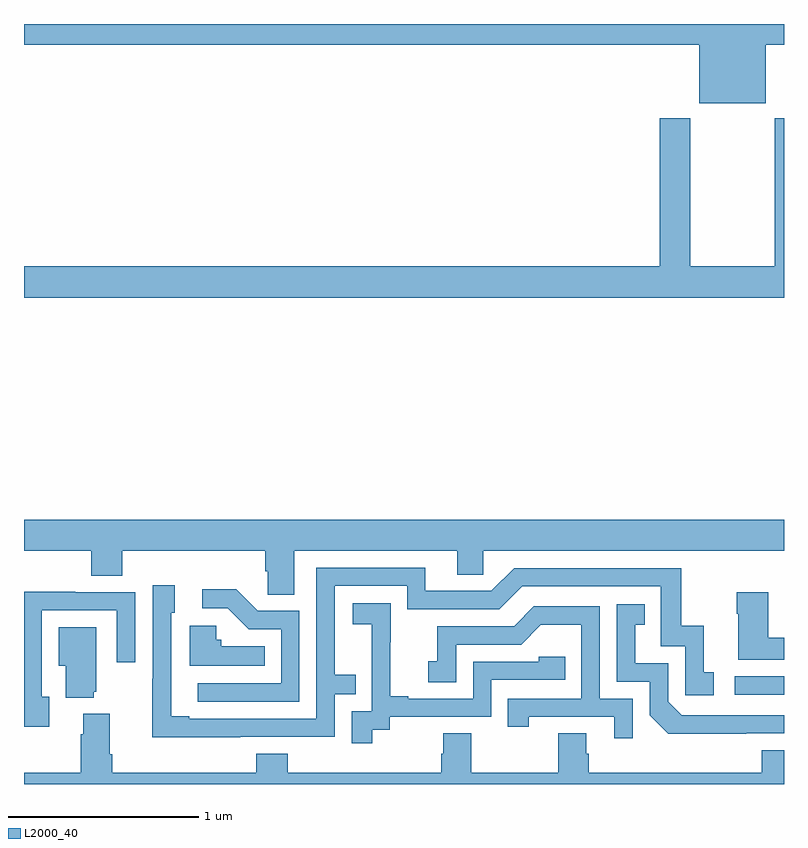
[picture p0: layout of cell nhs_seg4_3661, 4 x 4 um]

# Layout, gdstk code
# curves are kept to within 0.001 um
import gdstk
lib = gdstk.Library(unit=1e-6, precision=1e-09)
def R(c, l, rs):  # rectangles x0, y0, x1, y1
    for r in rs: c.add(gdstk.rectangle(r[:2], r[2:], *l))
def P(c, l, *ps):  # polygons
    for p in ps: c.add(gdstk.Polygon(p, *l))
L2000_40 = (2000, 40)

nhs_seg4_3661 = lib.new_cell('nhs_seg4_3661')
R(nhs_seg4_3661, L2000_40, [(306.741,821.37,307,821.466)])
P(nhs_seg4_3661, L2000_40, [(306.904,824.792),(307,824.792),(307,824.9),(303,824.9),(303,824.792),(306.554,824.792),(306.554,824.483),(306.904,824.483)],
  [(307,824.404),(306.952,824.404),(306.952,823.624),(306.507,823.624),(306.507,824.404),(306.347,824.404),(306.347,823.624),(303,823.624),(303,823.46),(307,823.46)],
  [(304.423,822.128),(305.279,822.128),(305.279,822.001),(305.418,822.001),(305.418,822.128),(307,822.128),(307,822.292),(303,822.292),(303,822.128),(303.353,822.128),(303.353,821.995),(303.518,821.995),(303.518,822.128),(304.271,822.128),(304.271,822.019),(304.284,822.019),(304.284,821.896),(304.423,821.896)],
  [(304.139,821.148),(304.635,821.148),(304.635,821.373),(304.745,821.373),(304.745,821.474),(304.635,821.474),(304.635,821.943),(305.016,821.943),(305.016,821.82),(305.502,821.82),(305.622,821.94),(306.351,821.94),(306.351,821.625),(306.48,821.625),(306.48,821.367),(306.631,821.367),(306.631,821.487),(306.578,821.487),(306.578,821.734),(306.46,821.734),(306.46,822.036),(305.58,822.036),(305.46,821.916),(305.113,821.916),(305.113,822.039),(304.539,822.039),(304.539,821.244),(303.871,821.244),(303.871,821.257),(303.774,821.257),(303.774,821.802),(303.793,821.802),(303.793,821.947),(303.678,821.947),(303.678,821.453),(303.676,821.453),(303.676,821.147)],
  [(304.449,821.811),(304.23,821.811),(304.117,821.924),(303.939,821.924),(303.939,821.826),(304.073,821.826),(304.184,821.715),(304.353,821.715),(304.353,821.43),(303.915,821.43),(303.915,821.334),(304.449,821.334)],
  [(303.133,821.358),(303.093,821.358),(303.093,821.814),(303.489,821.814),(303.489,821.541),(303.585,821.541),(303.585,821.91),(303.269,821.91),(303.269,821.912),(303,821.912),(303,821.202),(303.133,821.202)],
  [(307,821.669),(306.916,821.669),(306.916,821.908),(306.751,821.908),(306.751,821.795),(306.758,821.795),(306.758,821.555),(307,821.555)],
  [(304.834,821.185),(304.926,821.185),(304.926,821.253),(305.46,821.253),(305.46,821.448),(305.849,821.448),(305.849,821.571),(305.709,821.571),(305.709,821.544),(305.364,821.544),(305.364,821.349),(305.023,821.349),(305.023,821.362),(304.928,821.362),(304.928,821.645),(304.929,821.645),(304.929,821.851),(304.731,821.851),(304.731,821.741),(304.829,821.741),(304.829,821.513),(304.83,821.513),(304.83,821.283),(304.725,821.283),(304.725,821.115),(304.834,821.115)],
  [(306.8,821.166),(307,821.166),(307,821.262),(306.462,821.262),(306.39,821.334),(306.39,821.535),(306.217,821.535),(306.217,821.739),(306.266,821.739),(306.266,821.845),(306.12,821.845),(306.12,821.439),(306.294,821.439),(306.294,821.262),(306.392,821.165)],
  [(306.204,821.349),(306.03,821.349),(306.03,821.835),(305.684,821.835),(305.579,821.73),(305.176,821.73),(305.176,821.545),(305.127,821.545),(305.127,821.436),(305.274,821.436),(305.274,821.634),(305.616,821.634),(305.72,821.738),(305.934,821.738),(305.934,821.349),(305.545,821.349),(305.545,821.202),(305.656,821.202),(305.656,821.253),(306.107,821.253),(306.107,821.142),(306.204,821.142)],
  [(304.268,821.626),(304.038,821.626),(304.038,821.658),(304.011,821.658),(304.011,821.734),(303.872,821.734),(303.872,821.522),(304.268,821.522)],
  [(303.368,821.385),(303.379,821.385),(303.379,821.725),(303.182,821.725),(303.182,821.522),(303.221,821.522),(303.221,821.354),(303.368,821.354)],
  [(307,821.077),(306.884,821.077),(306.884,820.96),(305.972,820.96),(305.972,821.058),(305.959,821.058),(305.959,821.168),(305.812,821.168),(305.812,820.96),(305.355,820.96),(305.355,821.168),(305.207,821.168),(305.207,821.058),(305.195,821.058),(305.195,820.96),(304.388,820.96),(304.388,821.059),(304.223,821.059),(304.223,820.96),(303.464,820.96),(303.464,821.056),(303.451,821.056),(303.451,821.269),(303.311,821.269),(303.311,821.162),(303.299,821.162),(303.299,820.96),(303,820.96),(303,820.9),(307,820.9)])

lib.write_gds('nhs_seg4_3661.gds')
